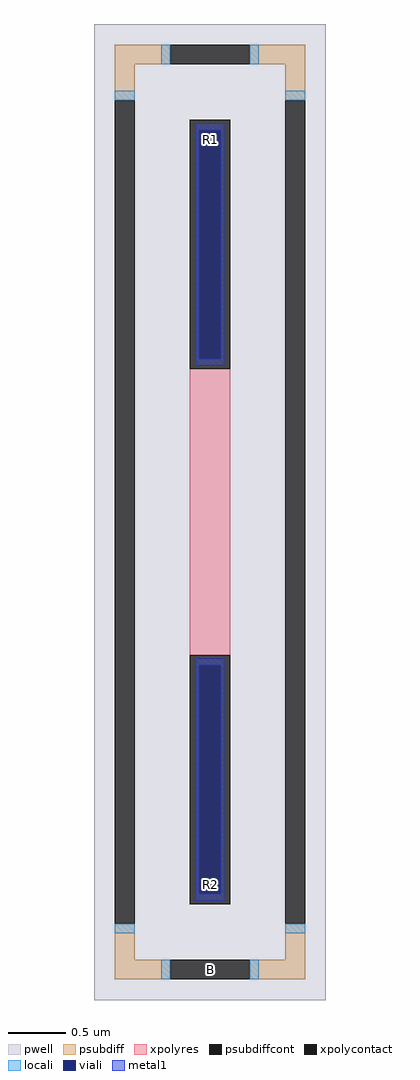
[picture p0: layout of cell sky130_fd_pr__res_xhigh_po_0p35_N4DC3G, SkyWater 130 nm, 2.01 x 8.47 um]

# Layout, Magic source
magic
tech sky130A
magscale 1 2
<< pwell >>
rect -201 -847 201 847
<< psubdiff >>
rect -165 777 -69 811
rect 69 777 165 811
rect -165 715 -131 777
rect 131 715 165 777
rect -165 -777 -131 -715
rect 131 -777 165 -715
rect -165 -811 -69 -777
rect 69 -811 165 -777
<< psubdiffcont >>
rect -69 777 69 811
rect -165 -715 -131 715
rect 131 -715 165 715
rect -69 -811 69 -777
<< xpolycontact >>
rect -35 249 35 681
rect -35 -681 35 -249
<< xpolyres >>
rect -35 -249 35 249
<< locali >>
rect -85 777 -69 811
rect 69 777 85 811
rect -165 715 -131 731
rect 131 715 165 731
rect -165 -731 -131 -715
rect 131 -731 165 -715
rect -85 -811 -69 -777
rect 69 -811 85 -777
<< viali >>
rect -19 266 19 663
rect -19 -663 19 -266
<< metal1 >>
rect -25 663 25 675
rect -25 266 -19 663
rect 19 266 25 663
rect -25 254 25 266
rect -25 -266 25 -254
rect -25 -663 -19 -266
rect 19 -663 25 -266
rect -25 -675 25 -663
<< labels >>
rlabel psubdiffcont 0 -794 0 -794 0 B
port 1 nsew
rlabel xpolycontact 0 646 0 646 0 R1
port 2 nsew
rlabel xpolycontact 0 -646 0 -646 0 R2
port 3 nsew
<< properties >>
string FIXED_BBOX -148 -794 148 794
string gencell sky130_fd_pr__res_xhigh_po_0p35
string library sky130
string parameters w 0.350 l 2.65 m 1 nx 1 wmin 0.350 lmin 0.50 class resistor rho 2000 val 16.218k dummy 0 dw 0.0 term 188.2 sterm 0.0 caplen 0 wmax 0.350 guard 1 glc 1 grc 1 gtc 1 gbc 1 compatible {sky130_fd_pr__res_xhigh_po_0p35  sky130_fd_pr__res_xhigh_po_0p69 sky130_fd_pr__res_xhigh_po_1p41  sky130_fd_pr__res_xhigh_po_2p85 sky130_fd_pr__res_xhigh_po_5p73} snake 0 full_metal 0 n_guard 0 hv_guard 0 vias 1 viagb 0 viagt 0 viagl 0 viagr 0 doports 1
<< end >>
